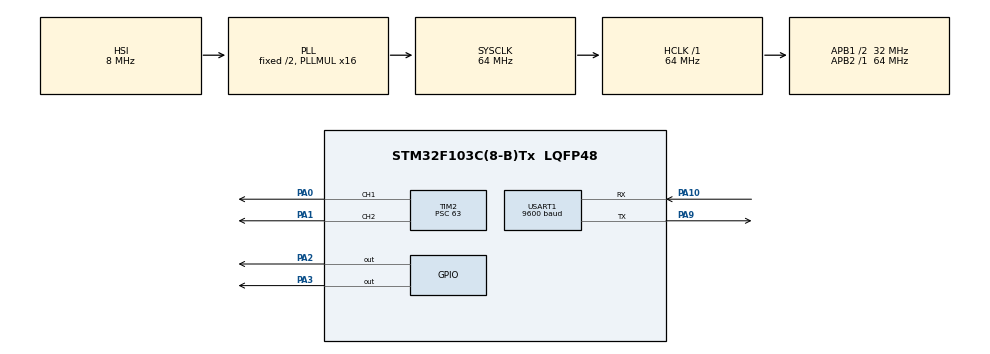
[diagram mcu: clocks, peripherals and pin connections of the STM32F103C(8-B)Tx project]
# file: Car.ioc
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Mcu.Family=STM32F1
Mcu.Name=STM32F103C(8-B)Tx
Mcu.Package=LQFP48
NVIC.PriorityGroup=NVIC_PRIORITYGROUP_4
NVIC.USART1_IRQn=true\:0\:0\:false\:false\:true\:true\:true\:true
PA0-WKUP.Signal=S_TIM2_CH1_ETR
PA1.Signal=S_TIM2_CH2
PA10.Mode=Asynchronous
PA10.Signal=USART1_RX
PA13.Mode=Serial_Wire
PA13.Signal=SYS_JTMS-SWDIO
PA14.Mode=Serial_Wire
PA14.Signal=SYS_JTCK-SWCLK
PA2.Signal=GPIO_Output
PA3.Signal=GPIO_Output
PA9.Mode=Asynchronous
PA9.Signal=USART1_TX
PD0-OSC_IN.Mode=HSE-External-Oscillator
PD0-OSC_IN.Signal=RCC_OSC_IN
PD1-OSC_OUT.Mode=HSE-External-Oscillator
PD1-OSC_OUT.Signal=RCC_OSC_OUT
ProjectManager.HeapSize=0x200
ProjectManager.StackSize=0x400
ProjectManager.TargetToolchain=MDK-ARM V4
RCC.AHBFreq_Value=64000000
RCC.APB1CLKDivider=RCC_HCLK_DIV2
RCC.APB1Freq_Value=32000000
RCC.APB1TimFreq_Value=64000000
RCC.APB2Freq_Value=64000000
RCC.APB2TimFreq_Value=64000000
RCC.HCLKFreq_Value=64000000
RCC.PLLMUL=RCC_PLL_MUL16
RCC.SYSCLKFreq_VALUE=64000000
RCC.SYSCLKSource=RCC_SYSCLKSOURCE_PLLCLK
RCC.USBFreq_Value=64000000
SH.S_TIM2_CH1_ETR.0=TIM2_CH1,PWM Generation1 CH1
SH.S_TIM2_CH2.0=TIM2_CH2,PWM Generation2 CH2
TIM2.Channel-PWM\ Generation1\ CH1=TIM_CHANNEL_1
TIM2.Channel-PWM\ Generation2\ CH2=TIM_CHANNEL_2
TIM2.Period=999
TIM2.Prescaler=63
USART1.BaudRate=9600
USART1.VirtualMode=VM_ASYNC
VP_TIM2_VS_ClockSourceINT.Mode=Internal
board=custom

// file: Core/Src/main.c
/* USER CODE BEGIN Header */
/**
  ******************************************************************************
  * @file           : main.c
  * @brief          : Main program body
  ******************************************************************************
  * @attention
  *
  * Copyright (c) 2024 STMicroelectronics.
  * All rights reserved.
  *
  * This software is licensed under terms that can be found in the LICENSE file
  * in the root directory of this software component.
  * If no LICENSE file comes with this software, it is provided AS-IS.
  *
  ******************************************************************************
  */
/* USER CODE END Header */
#include "main.h"

/* USER CODE BEGIN Includes */
	#include "car.h"
/* USER CODE END Includes */

TIM_HandleTypeDef htim2;

UART_HandleTypeDef huart1;

void SystemClock_Config(void);
static void MX_GPIO_Init(void);
static void MX_TIM2_Init(void);
static void MX_USART1_UART_Init(void);

/* USER CODE BEGIN 0 */
	uint8_t data_rx;
	int check1=0;
	int check2=0;
	int flag=0;
	int speed=100;
	void HAL_UART_RxCpltCallback(UART_HandleTypeDef *huart)
	{
		switch(data_rx)
			{
				case '0':
					car_control(car_stop_state,0);
				break;
				case 'F':
					car_control(car_forward_state,speed);
				break;
				case 'B':
					car_control(car_back_state,speed);
				break;
				case 'L':
					car_control(car_left_state,speed);
				break;
				case 'R':
					car_control(car_right_state,speed);
				break;
				default:
					if ( data_rx >= '1' && data_rx<= '9')
					{
						speed= (data_rx - '1')*10;
					}
					else if ( data_rx == 'q')
					{
						speed=100;
					}
				break;
			}
//			flag=1;
			HAL_UART_Receive_IT(&huart1,&data_rx,1);

	}
/* USER CODE END 0 */

int main(void)
{

  /* MCU Configuration--------------------------------------------------------*/

  /* Reset of all peripherals, Initializes the Flash interface and the Systick. */
  HAL_Init();

  /* Configure the system clock */
  SystemClock_Config();

  /* Initialize all configured peripherals */
  MX_GPIO_Init();
  MX_TIM2_Init();
  MX_USART1_UART_Init();
  /* USER CODE BEGIN 2 */
	HAL_TIM_PWM_Start(&htim2,TIM_CHANNEL_1);
	HAL_TIM_PWM_Start(&htim2,TIM_CHANNEL_2);
	HAL_UART_Receive_IT(&huart1,&data_rx,1);
	car_init(&htim2,TIM_CHANNEL_1,TIM_CHANNEL_2,GPIOA,GPIO_PIN_2,GPIO_PIN_3);

  /* USER CODE END 2 */

  /* Infinite loop */
  /* USER CODE BEGIN WHILE */
  while (1)
  {check1=HAL_GPIO_ReadPin(GPIOA,GPIO_PIN_2);
		check2=HAL_GPIO_ReadPin(GPIOA,GPIO_PIN_3);
    /* USER CODE END WHILE */

    /* USER CODE BEGIN 3 */
//  if (flag==1)
//		{
//			switch(data_rx)
//			{
//				case 'S':
//					car_control(car_stop_state,0);
//				break;
//				case 'F':
//					car_control(car_forward_state,speed);
//				break;
//				case 'B':
//					car_control(car_back_state,speed);
//				break;
//				case 'L':
//					car_control(car_left_state,speed);
//				break;
//				case 'R':
//					car_control(car_right_state,speed);
//				break;
//				default:
//					if ( data_rx >= '0' && data_rx<= '9')
//					{
//						speed= (data_rx - '0')*10;
//					}
//					else if ( data_rx == 'q')
//					{
//						speed=100;
//					}
//				break;
//			}
//			flag=0;
//		}
//		if (flag==0) { car_control(car_stop_state,0);}
	}
  /* USER CODE END 3 */
}

void SystemClock_Config(void)
{
  RCC_OscInitTypeDef RCC_OscInitStruct = {0};
  RCC_ClkInitTypeDef RCC_ClkInitStruct = {0};

  /** Initializes the RCC Oscillators according to the specified parameters
  * in the RCC_OscInitTypeDef structure.
  */
  RCC_OscInitStruct.OscillatorType = RCC_OSCILLATORTYPE_HSI;
  RCC_OscInitStruct.HSIState = RCC_HSI_ON;
  RCC_OscInitStruct.HSICalibrationValue = RCC_HSICALIBRATION_DEFAULT;
  RCC_OscInitStruct.PLL.PLLState = RCC_PLL_ON;
  RCC_OscInitStruct.PLL.PLLSource = RCC_PLLSOURCE_HSI_DIV2;
  RCC_OscInitStruct.PLL.PLLMUL = RCC_PLL_MUL16;
  if (HAL_RCC_OscConfig(&RCC_OscInitStruct) != HAL_OK)
  {
    Error_Handler();
  }

  /** Initializes the CPU, AHB and APB buses clocks
  */
  RCC_ClkInitStruct.ClockType = RCC_CLOCKTYPE_HCLK|RCC_CLOCKTYPE_SYSCLK
                              |RCC_CLOCKTYPE_PCLK1|RCC_CLOCKTYPE_PCLK2;
  RCC_ClkInitStruct.SYSCLKSource = RCC_SYSCLKSOURCE_PLLCLK;
  RCC_ClkInitStruct.AHBCLKDivider = RCC_SYSCLK_DIV1;
  RCC_ClkInitStruct.APB1CLKDivider = RCC_HCLK_DIV2;
  RCC_ClkInitStruct.APB2CLKDivider = RCC_HCLK_DIV1;

  if (HAL_RCC_ClockConfig(&RCC_ClkInitStruct, FLASH_LATENCY_2) != HAL_OK)
  {
    Error_Handler();
  }
}

static void MX_TIM2_Init(void)
{

  TIM_ClockConfigTypeDef sClockSourceConfig = {0};
  TIM_MasterConfigTypeDef sMasterConfig = {0};
  TIM_OC_InitTypeDef sConfigOC = {0};

  htim2.Instance = TIM2;
  htim2.Init.Prescaler = 63;
  htim2.Init.CounterMode = TIM_COUNTERMODE_UP;
  htim2.Init.Period = 999;
  htim2.Init.ClockDivision = TIM_CLOCKDIVISION_DIV1;
  htim2.Init.AutoReloadPreload = TIM_AUTORELOAD_PRELOAD_DISABLE;
  if (HAL_TIM_Base_Init(&htim2) != HAL_OK)
  {
    Error_Handler();
  }
  sClockSourceConfig.ClockSource = TIM_CLOCKSOURCE_INTERNAL;
  if (HAL_TIM_ConfigClockSource(&htim2, &sClockSourceConfig) != HAL_OK)
  {
    Error_Handler();
  }
  if (HAL_TIM_PWM_Init(&htim2) != HAL_OK)
  {
    Error_Handler();
  }
  sMasterConfig.MasterOutputTrigger = TIM_TRGO_RESET;
  sMasterConfig.MasterSlaveMode = TIM_MASTERSLAVEMODE_DISABLE;
  if (HAL_TIMEx_MasterConfigSynchronization(&htim2, &sMasterConfig) != HAL_OK)
  {
    Error_Handler();
  }
  sConfigOC.OCMode = TIM_OCMODE_PWM1;
  sConfigOC.Pulse = 0;
  sConfigOC.OCPolarity = TIM_OCPOLARITY_HIGH;
  sConfigOC.OCFastMode = TIM_OCFAST_DISABLE;
  if (HAL_TIM_PWM_ConfigChannel(&htim2, &sConfigOC, TIM_CHANNEL_1) != HAL_OK)
  {
    Error_Handler();
  }
  if (HAL_TIM_PWM_ConfigChannel(&htim2, &sConfigOC, TIM_CHANNEL_2) != HAL_OK)
  {
    Error_Handler();
  }
  HAL_TIM_MspPostInit(&htim2);

}

static void MX_USART1_UART_Init(void)
{

  huart1.Instance = USART1;
  huart1.Init.BaudRate = 9600;
  huart1.Init.WordLength = UART_WORDLENGTH_8B;
  huart1.Init.StopBits = UART_STOPBITS_1;
  huart1.Init.Parity = UART_PARITY_NONE;
  huart1.Init.Mode = UART_MODE_TX_RX;
  huart1.Init.HwFlowCtl = UART_HWCONTROL_NONE;
  huart1.Init.OverSampling = UART_OVERSAMPLING_16;
  if (HAL_UART_Init(&huart1) != HAL_OK)
  {
    Error_Handler();
  }

}

static void MX_GPIO_Init(void)
{
  GPIO_InitTypeDef GPIO_InitStruct = {0};

  /* GPIO Ports Clock Enable */
  __HAL_RCC_GPIOD_CLK_ENABLE();
  __HAL_RCC_GPIOA_CLK_ENABLE();

  /*Configure GPIO pin Output Level */
  HAL_GPIO_WritePin(GPIOA, GPIO_PIN_2|GPIO_PIN_3, GPIO_PIN_RESET);

  /*Configure GPIO pins : PA2 PA3 */
  GPIO_InitStruct.Pin = GPIO_PIN_2|GPIO_PIN_3;
  GPIO_InitStruct.Mode = GPIO_MODE_OUTPUT_PP;
  GPIO_InitStruct.Pull = GPIO_NOPULL;
  GPIO_InitStruct.Speed = GPIO_SPEED_FREQ_LOW;
  HAL_GPIO_Init(GPIOA, &GPIO_InitStruct);

}

void Error_Handler(void)
{
  __disable_irq();
  while (1)
  {
  }
}
